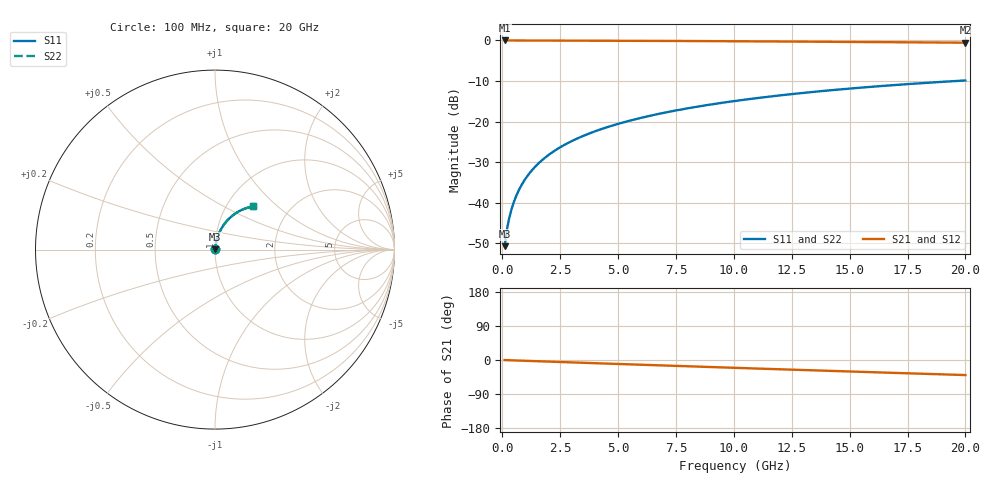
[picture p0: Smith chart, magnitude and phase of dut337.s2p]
! Touchstone file exported from HFSS 2026.1.0
!  File:  C:/ffzhzh/LocalFiles/Ansys_Project_Files/temp_train_BSMRDL_337_1783011116_55676.aedt
!  Generated:  12:53:36 AM Jul  3, 2026
!  Design:  BSMRDL
!  Project:  temp_train_BSMRDL_337_1783011116_55676
! Variables:
!  h_bsmrdl = 5.53um
!  h_ox = 20um
!  h_rdl = 5um
!  h_sub = 80um
!  h_tmrdl = 5um
!  h_tsv = 80um
!  h_via = 3um
!  l_bsmrdl = 612.06um
!  l_sub = 1012.06um
!  l_tmrdl = 200um
!  m_sub = 200um
!  pitch = 44.54um
!  r_tsv = 6um
!  s_tmrdl = 10um
!  w_bsmrdl = 21.64um
!  w_sub = 500um
!  w_tmrdl = 12um
!  x_tsv_center1 = 206um
!  x_tsv_center2 = 839.7um
!  x_tsv_center3 = 1051.7um
!  x_tsv_center4 = 1685.4um
!  x_tsv_center5 = 1897.4um
!  x_tsv_center6 = 2531.1um
# GHz S MA R 50.000000
! Terminal data exported
! Port[1] = BSM_RDL1_1_T1
! Port[2] = BSM_RDL1_1_T2
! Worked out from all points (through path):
!   200 points, 100 MHz to 20 GHz, reference 50 ohm
!   highest |S21| = -0.02 dB at 100 MHz (marker M1); lowest = -0.6 dB at 20 GHz (marker M2)
!   group delay of S21, straight-line fit = 5.51 ps
!   lowest |S11| = -50.7 dB at 100 MHz (marker M3), VSWR 1.01, Z = 50.2 + j0.214 ohm
!   |S11| at or under -10 dB: start of sweep to 19.62 GHz
!   |S22| runs from -50.7 to -9.9 dB; largest |S21 - S12| = 2e-15
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0.1  0.002914 47.0  0.998 -0.2  0.998 -0.2  0.002914 47.0
! Gamma 0 0 0 0
! Port Impedance 50 0 50 0
0.2  0.004655 62.4  0.9979 -0.4  0.9979 -0.4  0.004655 62.4
0.3  0.006473 69.2  0.9978 -0.7  0.9978 -0.7  0.006473 69.2
0.4  0.008324 73.1  0.9977 -0.9  0.9977 -0.9  0.008324 73.1
0.5  0.0102 75.6  0.9976 -1.1  0.9976 -1.1  0.0102 75.6
0.6  0.01209 77.3  0.9975 -1.3  0.9975 -1.3  0.01209 77.3
0.8  0.0159 79.3  0.9974 -1.7  0.9974 -1.7  0.0159 79.3
1.1  0.02165 80.6  0.9971 -2.4  0.9971 -2.4  0.02165 80.6
1.3  0.02548 81.0  0.9969 -2.8  0.9969 -2.8  0.02548 81.0
1.5  0.0293 81.1  0.9967 -3.2  0.9967 -3.2  0.0293 81.1
1.8  0.03501 81.1  0.9963 -3.8  0.9963 -3.8  0.03501 81.1
2.1  0.04068 80.9  0.9959 -4.5  0.9959 -4.5  0.04068 80.8
2.7  0.05191 80.1  0.9949 -5.7  0.9949 -5.7  0.05191 80.1
3.5  0.06664 78.8  0.9933 -7.4  0.9933 -7.4  0.06664 78.8
4.2  0.07932 77.6  0.9919 -8.9  0.9919 -8.9  0.07932 77.5
5  0.09361 76.1  0.9901 -10.5  0.9901 -10.5  0.09361 76.1
6.8  0.125 72.8  0.9856 -14.2  0.9856 -14.2  0.125 72.8
8.3  0.1505 70.0  0.9813 -17.2  0.9813 -17.2  0.1505 70.0
10.1  0.1801 66.7  0.9757 -20.8  0.9757 -20.8  0.1801 66.7
13.4  0.2314 60.5  0.9639 -27.3  0.9639 -27.3  0.2315 60.5
16.7  0.2785 54.5  0.9507 -33.6  0.9507 -33.6  0.2785 54.4
20  0.3208 48.5  0.9369 -39.7  0.9369 -39.7  0.3209 48.4
